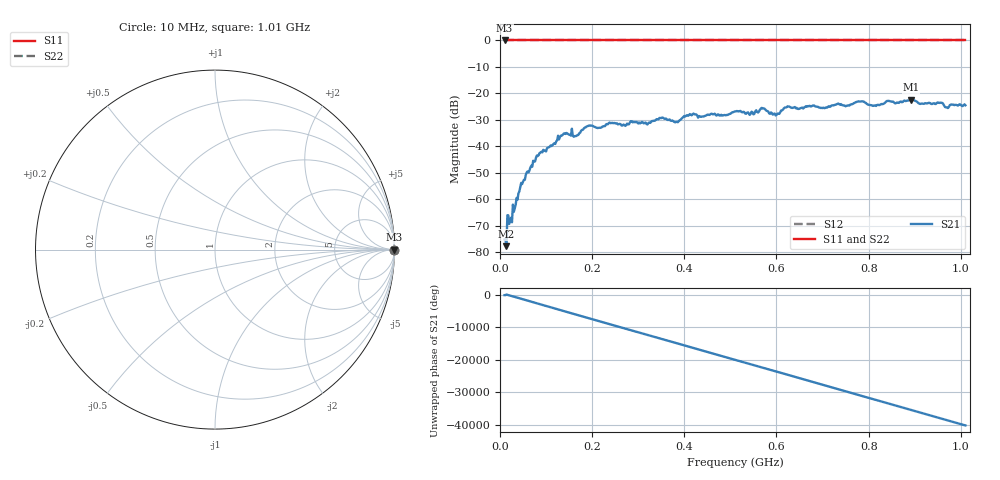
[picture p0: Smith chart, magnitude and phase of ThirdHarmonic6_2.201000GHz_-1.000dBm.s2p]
! 8/17/2025 2:14:08 AM
! C:\ANRITSUVNA\TEMP\TEMP.S2P
! CHANNEL.1
! TR.MEASUREMENT
! RAW.DATA
! RF.CORRECTION.OFF
! AVERAGING.OFF
! IF.BANDWIDTH: 5KHZ
! SWEEPTYPE:  FREQ.SWEEP(Linear)
! Reference Plane Port Info
! PORT:  PORT1  PORT2
! DISTANCE:  0  m  0  m
! TIME:  0  s  0  s
! PHASE.OFFSET:  0  deg.  0  deg.
! LOSS:  0  dB  0  dB
! REF.LOSS:  0  dB  0  dB
! REF.FREQ:  0  Hz  0  Hz
! Power Info
! POWER:  -20  dBm  -20  dBm
! EFF.POWER:  -20  dBm  -20  dBm
! SOURCE.ATTEN:  0  dB  0  dB
! TEST.ATTEN:  0  dB  0  dB
# GHZ S RI R 50.0
! FREQ.GHZ  S11RE  S11IM  S21RE  S21IM  S12RE  S12IM  S22RE  S22IM
!; PortSelection: Port_12
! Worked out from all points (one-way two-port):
!   501 points, 10 MHz to 1.01 GHz, reference 50 ohm
!   highest |S21| = -22.43 dB at 892 MHz (marker M1); lowest = -77.8 dB at 14 MHz (marker M2)
!   lowest |S11| = 0.0 dB at 10 MHz (marker M3)
!   |S11| at or under -10 dB: nowhere
!   |S22| runs from 0.0 to 0.0 dB; largest |S21 - S12| = 1.1
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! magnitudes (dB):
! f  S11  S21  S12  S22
! 10 MHz  0.0  -75.3  0.0  0.0
! 14 MHz  0.0  -77.8  0.0  0.0
! 20 MHz  0.0  -69.3  0.0  0.0
! 28 MHz  0.0  -62.1  0.0  0.0
! 48 MHz  0.0  -54.3  0.0  0.0
! 82 MHz  0.0  -43.7  0.0  0.0
! 136 MHz  0.0  -35.7  0.0  0.0
! 164 MHz  0.0  -36.2  0.0  0.0
! 178 MHz  0.0  -33.8  0.0  0.0
! 344 MHz  0.0  -29.8  0.0  0.0
! 382 MHz  0.0  -30.8  0.0  0.0
! 416 MHz  0.0  -28.3  0.0  0.0
! 510 MHz  0.0  -26.8  0.0  0.0
! 546 MHz  0.0  -26.9  0.0  0.0
! 570 MHz  0.0  -25.7  0.0  0.0
! 602 MHz  0.0  -27.7  0.0  0.0
! 622 MHz  0.0  -25.3  0.0  0.0
! 678 MHz  0.0  -24.7  0.0  0.0
! 844 MHz  0.0  -22.9  0.0  0.0
! 892 MHz  0.0  -22.4  0.0  0.0
! 970 MHz  0.0  -25.4  0.0  0.0
! 1.01 GHz  0.0  -24.5  0.0  0.0
